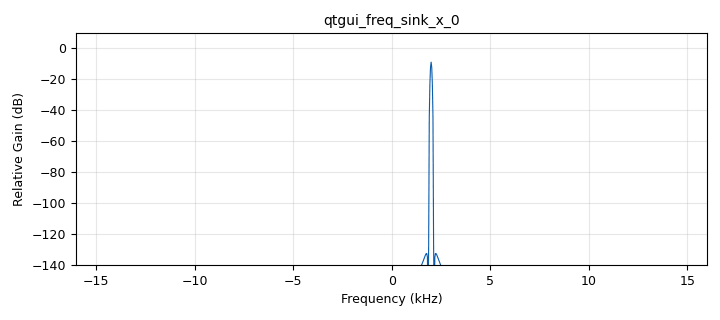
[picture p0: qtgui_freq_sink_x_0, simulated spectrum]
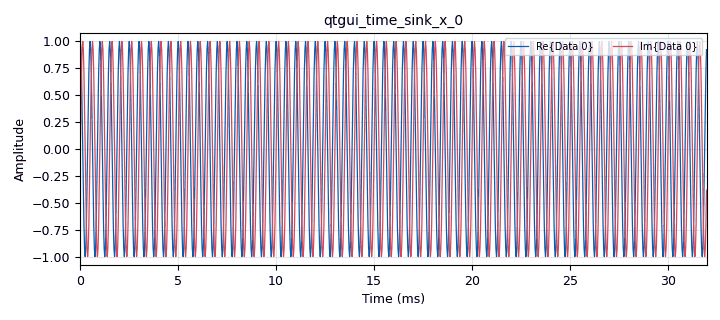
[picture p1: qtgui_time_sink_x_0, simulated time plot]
options:
  parameters:
    generate_options: qt_gui
    id: rtl_sdr
    output_language: python
    title: rtl-sdr
  states: {}

blocks:
- name: freq
  id: variable_qtgui_range
  parameters:
    label: freq
    orient: Qt.Horizontal
    start: 1e3
    step: '1'
    stop: 40e3
    value: 2e3
  states: {}
- name: samp_rate
  id: variable
  parameters:
    value: '32000'
  states: {}
- name: analog_sig_source_x_0
  id: analog_sig_source_x
  parameters:
    amp: '1'
    freq: freq
    offset: '0'
    phase: '0'
    samp_rate: samp_rate
    type: complex
    waveform: analog.GR_COS_WAVE
  states: {}
- name: blocks_throttle_0
  id: blocks_throttle
  parameters:
    samples_per_second: samp_rate
    type: complex
  states: {}
- name: qtgui_freq_sink_x_0
  id: qtgui_freq_sink_x
  parameters:
    bw: samp_rate
    fc: '0'
    fftsize: '1024'
    type: complex
    wintype: firdes.WIN_BLACKMAN_hARRIS
  states: {}
- name: qtgui_time_sink_x_0
  id: qtgui_time_sink_x
  parameters:
    size: '1024'
    srate: samp_rate
    type: complex
  states: {}

connections:
- [analog_sig_source_x_0, '0', blocks_throttle_0, '0']
- [blocks_throttle_0, '0', qtgui_freq_sink_x_0, '0']
- [blocks_throttle_0, '0', qtgui_time_sink_x_0, '0']

metadata:
  file_format: 1
